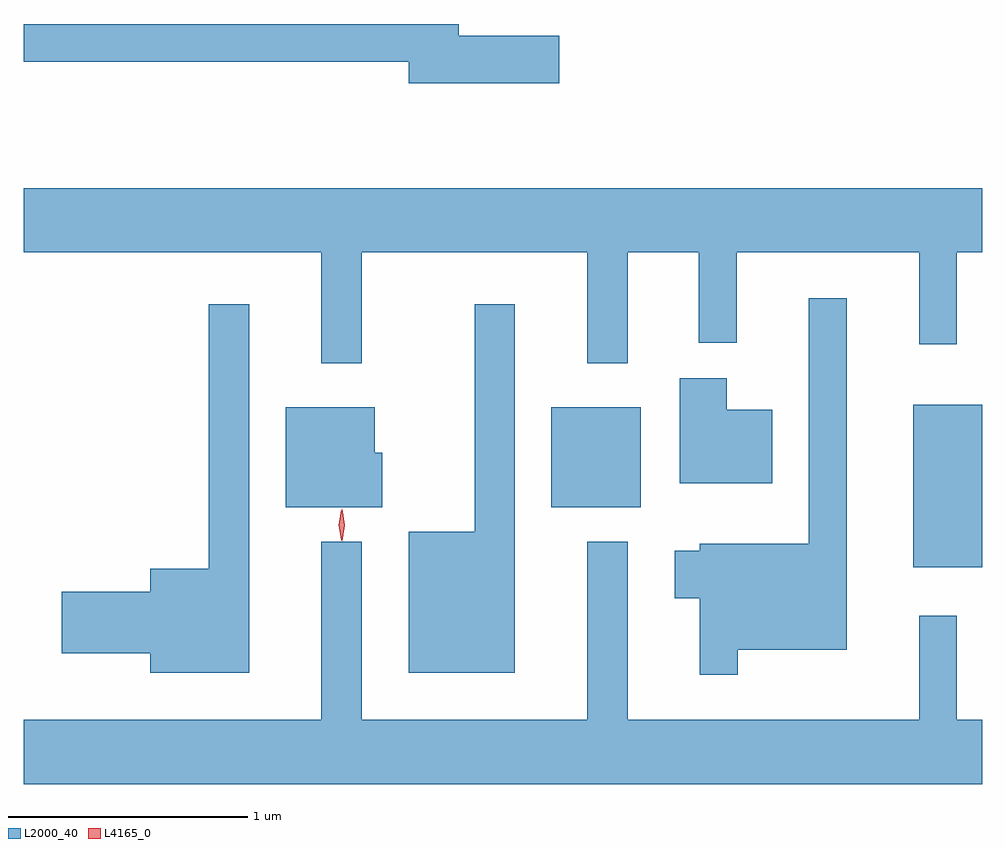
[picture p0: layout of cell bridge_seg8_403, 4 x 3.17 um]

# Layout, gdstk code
import gdstk
lib = gdstk.Library(unit=1e-6, precision=1e-09)
def R(c, l, rs):  # rectangles x0, y0, x1, y1
    for r in rs: c.add(gdstk.rectangle(r[:2], r[2:], *l))
def P(c, l, *ps):  # polygons
    for p in ps: c.add(gdstk.Polygon(p, *l))
L2000_40 = (2000, 40)
L4165_0 = (4165, 0)

bridge_seg8_403 = lib.new_cell('bridge_seg8_403')
R(bridge_seg8_403, L2000_40, [(658.781,1826.221,659.069,1826.899), (657.271,1826.471,657.644,1826.889)])
P(bridge_seg8_403, L2000_40, [(657.304,1828.439),(656.884,1828.439),(656.884,1828.489),(655.069,1828.489),(655.069,1828.331),(656.676,1828.331),(656.676,1828.241),(657.304,1828.241)],
  [(656.479,1827.536),(657.421,1827.536),(657.421,1827.073),(657.589,1827.073),(657.589,1827.536),(657.886,1827.536),(657.886,1827.158),(658.044,1827.158),(658.044,1827.536),(658.806,1827.536),(658.806,1827.153),(658.964,1827.153),(658.964,1827.536),(659.069,1827.536),(659.069,1827.804),(655.069,1827.804),(655.069,1827.536),(656.311,1827.536),(656.311,1827.073),(656.479,1827.073)],
  [(658.049,1825.876),(658.504,1825.876),(658.504,1827.343),(658.346,1827.343),(658.346,1826.319),(657.891,1826.319),(657.891,1826.289),(657.786,1826.289),(657.786,1826.091),(657.891,1826.091),(657.891,1825.773),(658.049,1825.773)],
  [(656.009,1827.318),(655.841,1827.318),(655.841,1826.214),(655.596,1826.214),(655.596,1826.119),(655.226,1826.119),(655.226,1825.861),(655.596,1825.861),(655.596,1825.781),(656.009,1825.781)],
  [(657.119,1827.318),(656.951,1827.318),(656.951,1826.369),(656.676,1826.369),(656.676,1825.781),(657.119,1825.781)],
  [(658.194,1826.879),(658.004,1826.879),(658.004,1827.009),(657.806,1827.009),(657.806,1826.571),(658.194,1826.571)],
  [(656.564,1826.699),(656.534,1826.699),(656.534,1826.889),(656.161,1826.889),(656.161,1826.471),(656.564,1826.471)],
  [(659.069,1825.584),(658.964,1825.584),(658.964,1826.018),(658.806,1826.018),(658.806,1825.584),(657.589,1825.584),(657.589,1826.328),(657.421,1826.328),(657.421,1825.584),(656.479,1825.584),(656.479,1826.328),(656.311,1826.328),(656.311,1825.584),(655.069,1825.584),(655.069,1825.316),(659.069,1825.316)])
P(bridge_seg8_403, L4165_0, [(656.394,1826.333),(656.384,1826.397),(656.394,1826.461),(656.394,1826.461),(656.394,1826.461),(656.404,1826.397),(656.395,1826.333),(656.395,1826.333)],
  [(656.398,1826.329),(656.398,1826.33),(656.388,1826.397),(656.398,1826.465),(656.398,1826.466),(656.398,1826.465),(656.408,1826.397),(656.398,1826.33)])

lib.write_gds('bridge_seg8_403.gds')
